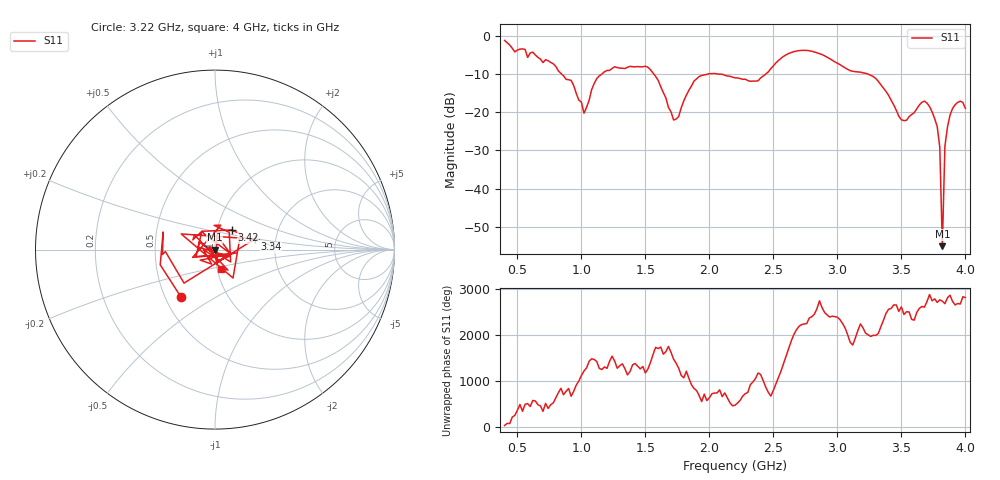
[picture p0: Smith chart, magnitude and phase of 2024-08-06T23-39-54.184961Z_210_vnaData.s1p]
!Created with skrf (http://scikit-rf.org).
# Hz S RI R 50.0
!freq ReS11 ImS11
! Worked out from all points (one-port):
!   181 points, 400 MHz to 4 GHz, reference 50 ohm
!   lowest |S11| = -55.1 dB at 3.82 GHz (marker M1), VSWR 1.00, Z = 49.8 - j0.0802 ohm
!   |S11| at or under -10 dB: 1.566 GHz to 1.986 GHz (419.9 MHz wide, 23.6 % of centre); 2.074 GHz to 2.44 GHz (366.6 MHz wide, 16.2 % of centre); 3.241 GHz to end of sweep (the widest 3 of 4)
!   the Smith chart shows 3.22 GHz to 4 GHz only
!   S11 on the Smith chart (normalised r, x): 3.22 GHz: 0.60, -0.35; 3.34 GHz: 1.55, +0.19; 3.42 GHz: 1.17, +0.26; 4 GHz: 1.05, -0.23
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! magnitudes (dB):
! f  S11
! 400 MHz  -1.2
! 860 MHz  -10.4
! 920 MHz  -11.6
! 1.02 GHz  -20.2
! 1.12 GHz  -11.2
! 1.3 GHz  -8.4
! 1.52 GHz  -8.2
! 1.6 GHz  -11.7
! 1.72 GHz  -22.0
! 1.76 GHz  -21.1
! 1.92 GHz  -10.6
! 2.2 GHz  -11.0
! 2.38 GHz  -11.8
! 2.66 GHz  -4.1
! 3.1 GHz  -9.1
! 3.22 GHz  -9.8
! 3.34 GHz  -12.8
! 3.42 GHz  -16.8
! 3.5 GHz  -22.0
! 3.56 GHz  -21.1
! 3.68 GHz  -17.1
! 3.78 GHz  -23.8
! 3.8 GHz  -29.1
! 3.82 GHz  -55.1
! 3.84 GHz  -28.9
! 3.86 GHz  -23.9
! 3.92 GHz  -18.0
! 4 GHz  -19.0
